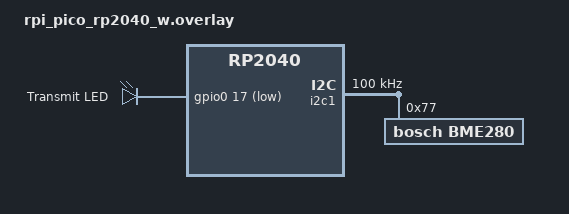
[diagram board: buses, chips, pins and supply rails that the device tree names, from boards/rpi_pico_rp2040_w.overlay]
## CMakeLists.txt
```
cmake_minimum_required(VERSION 3.20.0)

if(EXISTS "${CMAKE_CURRENT_SOURCE_DIR}/local.conf")
    list(APPEND EXTRA_CONF_FILE "${CMAKE_CURRENT_SOURCE_DIR}/local.conf")
endif()

find_package(Zephyr REQUIRED HINTS $ENV{ZEPHYR_BASE})
project(edge_environment)


zephyr_include_directories(include)

target_sources(app PRIVATE 
    src/main.cpp
    src/sensor.cpp
    src/filter.cpp
    src/wifi_connect.cpp
    src/mqtt_publisher.cpp
)
```

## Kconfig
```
mainmenu "Edge Environment Firmware"

config APP_WIFI_SSID
    string "WiFi SSID"
    default "Your_SSID"

config APP_WIFI_PASSWORD
    string "WiFi Password"
    default "Your_Password"

config APP_MQTT_BROKER_HOST
    string "MQTT Broker Hostname/IP"
    default "192.168.1.140"

config APP_MQTT_BROKER_PORT
    int "MQTT Broker Port"
    default 1883

config APP_MQTT_TOPIC
    string "MQTT Topic"
    default "sensors/bme280"

config APP_MQTT_TLS_VERIFY_REQUIRED
    bool "MQTT TLS Verification Required"
    default n
    help
      Enable server certificate verification. Defaults to 'n' for local dev
      due to Pico W real-time clock validation constraints.

config APP_MQTT_USERNAME
    string "MQTT Username"
    default "device_user"

config APP_MQTT_PASSWORD
    string "MQTT Password"
    default "device_pass"

source "Kconfig.zephyr"
```

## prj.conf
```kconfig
# Enable I2C
CONFIG_I2C=y
CONFIG_GPIO=y

# Enable Sensor subsystem
CONFIG_SENSOR=y

# Enable WiFi
CONFIG_WIFI=y
CONFIG_CYW43439=y
CONFIG_NET_L2_ETHERNET=y
CONFIG_NET_L2_WIFI_MGMT=y
CONFIG_NET_DHCPV4=y

# Networking
CONFIG_NETWORKING=y
CONFIG_NET_IPV4=y
CONFIG_NET_TCP=y
CONFIG_NET_UDP=y

# MQTT
CONFIG_MQTT_LIB=y

# JSON
CONFIG_JSON_LIBRARY=y

# Logging
CONFIG_LOG=y
CONFIG_NET_LOG=y
CONFIG_WIFI_LOG_LEVEL_DBG=y
CONFIG_NET_L2_WIFI_MGMT_LOG_LEVEL_DBG=y

# Networking Sockets
CONFIG_NET_SOCKETS=y
CONFIG_POSIX_API=y
CONFIG_TEST_RANDOM_GENERATOR=y

# WiFi Config (Kconfig mapped) - set actual credentials in local.conf (ignored by Git)
CONFIG_APP_WIFI_SSID="your-ssid-here"
CONFIG_APP_WIFI_PASSWORD="your-password-here"
CONFIG_APP_MQTT_BROKER_HOST="192.168.1.39"
CONFIG_APP_MQTT_BROKER_PORT=8883
CONFIG_APP_MQTT_TOPIC="sensors/bme280"
CONFIG_APP_MQTT_USERNAME="device_user"
CONFIG_APP_MQTT_PASSWORD="device_pass"

# TLS Configuration
CONFIG_MQTT_LIB_TLS=y
CONFIG_NET_SOCKETS_SOCKOPT_TLS=y
CONFIG_TLS_CREDENTIALS=y
CONFIG_MBEDTLS=y
CONFIG_MBEDTLS_BUILTIN=y
CONFIG_MBEDTLS_CIPHERSUITE_TLS_ECDHE_RSA_WITH_AES_128_GCM_SHA256=y
CONFIG_MBEDTLS_PEM_PARSE_C=y

# Cut TLS record buffer 16KB → 4KB (saves ~24KB heap)
CONFIG_MBEDTLS_SSL_MAX_CONTENT_LEN=4096


# Application specific settings
CONFIG_MAIN_STACK_SIZE=8192
CONFIG_HEAP_MEM_POOL_SIZE=65536

# C++ Support
CONFIG_CPP=y
CONFIG_STD_CPP20=y
CONFIG_REQUIRES_FULL_LIBCPP=y

# Floating point and JSON library FP support
CONFIG_JSON_LIBRARY_FP_SUPPORT=y
```

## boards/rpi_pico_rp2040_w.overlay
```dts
&i2c0 {
    status = "disabled";
};

&pinctrl {
    i2c1_default: i2c1_default {
        group1 {
            pinmux = <I2C1_SDA_P26>, <I2C1_SCL_P27>;
            input-enable;
            input-schmitt-enable;
        };
    };
};

&i2c1 {
    status = "okay";
    clock-frequency = <I2C_BITRATE_STANDARD>;
    pinctrl-0 = <&i2c1_default>;
    pinctrl-names = "default";

    bme280@77 {
        compatible = "bosch,bme280";
        reg = <0x77>;
        /* Assuming address 0x77 which is the default for many BME280 modules.
         * If your module uses 0x76, change this to 0x76. */
    };
};

/ {
    leds {
        compatible = "gpio-leds";
        tx_led: led_17 {
            gpios = <&gpio0 17 GPIO_ACTIVE_LOW>;
            label = "Transmit LED";
        };
    };

    aliases {
        tx-led = &tx_led;
    };
};
```

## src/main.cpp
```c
#include <zephyr/kernel.h>
#include <zephyr/logging/log.h>
#include "sensor.hpp"
#include "filter.hpp"
#include "wifi_connect.hpp"
#include "mqtt_publisher.hpp"
#include <chrono>
#include <zephyr/drivers/gpio.h>

LOG_MODULE_REGISTER(app, LOG_LEVEL_INF);

/* Get the devicetree node identifier for the alias */
#define TX_LED_NODE DT_ALIAS(tx_led)

static const struct gpio_dt_spec tx_led = GPIO_DT_SPEC_GET(TX_LED_NODE, gpios);

int main()
{
    LOG_INF("Starting Edge Environment firmware (C++20)...");

    // Initialize LED GPIO
    if (!gpio_is_ready_dt(&tx_led)) {
        LOG_ERR("Error: TX LED device is not ready");
        return 0;
    }

    int ret = gpio_pin_configure_dt(&tx_led, GPIO_OUTPUT_INACTIVE);
    if (ret < 0) {
        LOG_ERR("Error %d: failed to configure TX LED pin", ret);
        return 0;
    }

    // 1. Connect to Wi-Fi
    if (!wifi_connect()) {
        LOG_ERR("Failed to connect to Wi-Fi. Halting.");
        return 0;
    }
    LOG_INF("Wi-Fi connected successfully.");

    // Allow the TCP/IP stack to settle (DHCP, routing) before connecting to MQTT
    k_sleep(K_MSEC(1500));

    // 2. Initialize BME280 Sensor
    Bme280Sensor sensor;
    if (!sensor.initialize()) {
        LOG_ERR("Failed to initialize sensor. Halting.");
        return 0;
    }

    // 3. Initialize MQTT Publisher and start background thread
    MqttPublisher mqtt;
    if (!mqtt.start()) {
        LOG_ERR("Failed to start MQTT background runner.");
    } else {
        // Wait up to 3 seconds for initial connection to avoid dropping first measurement
        int wait_timeout = 30;
        while (wait_timeout-- > 0 && !mqtt.get_connected()) {
            k_sleep(K_MSEC(100));
        }
    }

    // 4. Initialize Reading Filter
    ReadingFilter filter;

    LOG_INF("Entering continuous measurement loop...");

    while (true) {
        SensorReading reading;
        if (sensor.read(reading)) {
            uint32_t now_ms = k_uptime_get_32();
            if (filter.should_publish(reading, std::chrono::milliseconds(now_ms))) {
                LOG_INF("New measurement: Temp=%.2f C, Hum=%.2f %%, Press=%.2f hPa",
                        reading.temperature, reading.humidity, reading.pressure);
                
                // Turn on LED to indicate transmission starting
                gpio_pin_set_dt(&tx_led, 1);

                if (mqtt.publish_reading(reading)) {
                    LOG_INF("Published to MQTT topic '%s'", CONFIG_APP_MQTT_TOPIC);
                } else {
                    LOG_ERR("Failed to publish reading to MQTT");
                }

                // Keep the LED on for 2 seconds, then turn it off
                k_sleep(K_SECONDS(2));
                gpio_pin_set_dt(&tx_led, 0);
            }
        } else {
            LOG_ERR("Failed to read from BME280 sensor");
        }
        
        k_sleep(K_SECONDS(5));
    }
    return 0;
}
```

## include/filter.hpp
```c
#pragma once
#include "sensor_reading.hpp"
#include <chrono>

class ReadingFilter {
public:
    ReadingFilter(std::chrono::milliseconds interval = std::chrono::minutes(5), 
                  double delta_temp = 0.5, 
                  double delta_humidity = 2.0, 
                  double delta_pressure = 1.0);

    bool should_publish(const SensorReading& reading, std::chrono::milliseconds current_time);

private:
    std::chrono::milliseconds interval_;
    double delta_temp_;
    double delta_humidity_;
    double delta_pressure_;
    SensorReading last_reading_;
    std::chrono::milliseconds last_published_time_;
    bool has_last_reading_;
};
```

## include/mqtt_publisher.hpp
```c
#pragma once
#include "sensor_reading.hpp"
#include <zephyr/net/mqtt.h>
#include <zephyr/kernel.h>

class MqttPublisher {
public:
    MqttPublisher();
    ~MqttPublisher();
    bool start();
    void stop();
    bool connect_broker();
    void disconnect_broker();
    bool publish_reading(const SensorReading& reading);
    void set_connected(bool connected);
    bool get_connected();

private:
    struct mqtt_client client_;
    struct sockaddr_in broker_addr_;
    uint8_t rx_buffer_[256];
    uint8_t tx_buffer_[256];
    char mac_str_[18];
    bool is_connected_;
    bool should_run_;
    struct k_mutex state_mutex_;

    void init_client();
    void run_loop();
    void process_network(int timeout_ms);
};
```

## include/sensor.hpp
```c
#pragma once
#include <zephyr/device.h>
#include "sensor_reading.hpp"

class Bme280Sensor {
public:
    Bme280Sensor();
    bool initialize();
    bool read(SensorReading& out);

private:
    const struct device* dev_;
};
```

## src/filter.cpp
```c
#include "filter.hpp"
#include <cmath>

ReadingFilter::ReadingFilter(std::chrono::milliseconds interval, 
                             double delta_temp, 
                             double delta_humidity, 
                             double delta_pressure)
    : interval_(interval),
      delta_temp_(delta_temp),
      delta_humidity_(delta_humidity),
      delta_pressure_(delta_pressure),
      last_reading_{0.0, 0.0, 0.0, 0},
      last_published_time_(0),
      has_last_reading_(false) {}

bool ReadingFilter::should_publish(const SensorReading& reading, std::chrono::milliseconds current_time) {
    if (!has_last_reading_) {
        last_reading_ = reading;
        last_published_time_ = current_time;
        has_last_reading_ = true;
        return true;
    }

    auto elapsed = current_time - last_published_time_;
    if (elapsed >= interval_) {
        last_reading_ = reading;
        last_published_time_ = current_time;
        return true;
    }

    double temp_diff = std::fabs(reading.temperature - last_reading_.temperature);
    double hum_diff = std::fabs(reading.humidity - last_reading_.humidity);
    double press_diff = std::fabs(reading.pressure - last_reading_.pressure);

    if (temp_diff >= delta_temp_ || hum_diff >= delta_humidity_ || press_diff >= delta_pressure_) {
        last_reading_ = reading;
        last_published_time_ = current_time;
        return true;
    }

    return false;
}
```

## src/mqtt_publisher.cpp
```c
#include "mqtt_publisher.hpp"
#include <zephyr/kernel.h>
#include <zephyr/net/socket.h>
#include <zephyr/data/json.h>
#include <zephyr/logging/log.h>
#include <zephyr/net/net_if.h>
#include <string.h>

LOG_MODULE_DECLARE(app, LOG_LEVEL_INF);

#if defined(CONFIG_MQTT_LIB_TLS)
#include <zephyr/net/tls_credentials.h>

#define MQTT_TLS_SEC_TAG 1

static const char ca_certificate[] = 
#include "ca_cert.inc"
;

static int register_credentials(void)
{
    int rc = tls_credential_add(MQTT_TLS_SEC_TAG,
                                TLS_CREDENTIAL_CA_CERTIFICATE,
                                ca_certificate,
                                sizeof(ca_certificate));
    if (rc < 0 && rc != -EEXIST) {
        LOG_ERR("Failed to register CA certificate: %d", rc);
        return rc;
    }
    return 0;
}
#endif

// Define a dedicated thread space for the MQTT network runner
K_THREAD_STACK_DEFINE(mqtt_worker_stack, 4096);
static struct k_thread mqtt_worker_data;

static void mqtt_evt_handler(struct mqtt_client *const client,
                             const struct mqtt_evt *evt)
{
    MqttPublisher *pub = static_cast<MqttPublisher *>(client->user_data);
    if (!pub) return;

    switch (evt->type) {
    case MQTT_EVT_CONNACK:
        if (evt->param.connack.return_code != 0) {
            LOG_ERR("MQTT connection refused: %d", evt->param.connack.return_code);
            pub->set_connected(false);
        } else {
            LOG_INF("MQTT client successfully connected!");
            pub->set_connected(true);
        }
        break;

    case MQTT_EVT_DISCONNECT:
        LOG_WRN("MQTT client disconnected: %d", evt->result);
        pub->set_connected(false);
        break;

    case MQTT_EVT_PUBACK:
        if (evt->result != 0) {
            LOG_ERR("MQTT PUBACK error: %d", evt->result);
        } else {
            LOG_DBG("PUBACK received for packet id: %u", evt->param.puback.message_id);
        }
        break;

    default:
        break;
    }
}

// Zephyr JSON descriptor for SensorReading
struct json_sensor_reading {
    double temperature;
    double humidity;
    double pressure;
    int address;
    const char *mac;
};

static const struct json_obj_descr json_descr[] = {
    JSON_OBJ_DESCR_PRIM(struct json_sensor_reading, temperature, JSON_TOK_DOUBLE_FP),
    JSON_OBJ_DESCR_PRIM(struct json_sensor_reading, humidity, JSON_TOK_DOUBLE_FP),
    JSON_OBJ_DESCR_PRIM(struct json_sensor_reading, pressure, JSON_TOK_DOUBLE_FP),
    JSON_OBJ_DESCR_PRIM(struct json_sensor_reading, address, JSON_TOK_NUMBER),
    JSON_OBJ_DESCR_PRIM(struct json_sensor_reading, mac, JSON_TOK_STRING),
};

MqttPublisher::MqttPublisher() : is_connected_(false), should_run_(false) {
    k_mutex_init(&state_mutex_);
    init_client();
}

MqttPublisher::~MqttPublisher() {
    stop();
}

void MqttPublisher::init_client() {
    mqtt_client_init(&client_);

    memset(&broker_addr_, 0, sizeof(broker_addr_));
    broker_addr_.sin_family = AF_INET;
    broker_addr_.sin_port = htons(CONFIG_APP_MQTT_BROKER_PORT);
    zsock_inet_pton(AF_INET, CONFIG_APP_MQTT_BROKER_HOST, &broker_addr_.sin_addr);

    // Extract Wi-Fi MAC address
    struct net_if *iface = net_if_get_default();
    if (iface) {
        struct net_linkaddr *link_addr = net_if_get_link_addr(iface);
        if (link_addr && link_addr->len == 6) {
            snprintk(mac_str_, sizeof(mac_str_), "%02X:%02X:%02X:%02X:%02X:%02X",
                     link_addr->addr[0], link_addr->addr[1], link_addr->addr[2],
                     link_addr->addr[3], link_addr->addr[4], link_addr->addr[5]);
        } else {
            strcpy(mac_str_, "00:00:00:00:00:00");
        }
    } else {
        strcpy(mac_str_, "00:00:00:00:00:00");
    }

    client_.broker = &broker_addr_;
    client_.evt_cb = mqtt_evt_handler;
    client_.user_data = this;
    client_.client_id.utf8 = (const uint8_t *)mac_str_;
    client_.client_id.size = strlen(mac_str_);

    static struct mqtt_utf8 username_utf8;
    static struct mqtt_utf8 password_utf8;

    username_utf8.utf8 = (const uint8_t *)CONFIG_APP_MQTT_USERNAME;
    username_utf8.size = strlen(CONFIG_APP_MQTT_USERNAME);

    password_utf8.utf8 = (const uint8_t *)CONFIG_APP_MQTT_PASSWORD;
    password_utf8.size = strlen(CONFIG_APP_MQTT_PASSWORD);

    client_.user_name = &username_utf8;
    client_.password = &password_utf8;

    client_.protocol_version = MQTT_VERSION_3_1_1;
    client_.keepalive = 60;

    client_.rx_buf = rx_buffer_;
    client_.rx_buf_size = sizeof(rx_buffer_);
    client_.tx_buf = tx_buffer_;
    client_.tx_buf_size = sizeof(tx_buffer_);

#if defined(CONFIG_MQTT_LIB_TLS)
    register_credentials();

    static sec_tag_t sec_tag_list[] = { MQTT_TLS_SEC_TAG };
    client_.transport.type = MQTT_TRANSPORT_SECURE;
    struct mqtt_sec_config *tls_config = &client_.transport.tls.config;

#if defined(CONFIG_APP_MQTT_TLS_VERIFY_REQUIRED)
    tls_config->peer_verify = TLS_PEER_VERIFY_REQUIRED;
#else
    tls_config->peer_verify = TLS_PEER_VERIFY_NONE;
#endif

    tls_config->cipher_list = NULL;
    tls_config->cipher_count = 0;
    tls_config->sec_tag_list = sec_tag_list;
    tls_config->sec_tag_count = ARRAY_SIZE(sec_tag_list);
    tls_config->hostname = CONFIG_APP_MQTT_BROKER_HOST;
#else
    client_.transport.type = MQTT_TRANSPORT_NON_SECURE;
#endif
}

bool MqttPublisher::start() {
    if (should_run_) return true;

    should_run_ = true;
    
    // Spawn background management loop
    k_thread_create(&mqtt_worker_data, mqtt_worker_stack,
                    K_THREAD_STACK_SIZEOF(mqtt_worker_stack),
                    [](void *p1, void *, void *) {
                        static_cast<MqttPublisher *>(p1)->run_loop();
                    },
                    this, nullptr, nullptr,
                    K_PRIO_PREEMPT(7), 0, K_NO_WAIT);
    
    return true;
}

void MqttPublisher::stop() {
    should_run_ = false;
    disconnect_broker();
    // Wait for worker thread to wind down gracefully if needed
    k_sleep(K_MSEC(200));
}

bool MqttPublisher::connect_broker() {
    int rc = mqtt_connect(&client_);
    if (rc != 0) {
        LOG_ERR("mqtt_connect failed: %d", rc);
        return false;
    }
    return true;
}

void MqttPublisher::disconnect_broker() {
    mqtt_disconnect(&client_, NULL);
    set_connected(false);
}

// Background thread that keeps the MQTT connection alive and handles sockets cleanly
void MqttPublisher::run_loop() {
    while (should_run_) {
        if (!get_connected()) {
            LOG_INF("Attempting connection to MQTT broker...");
            if (connect_broker()) {
                // Give the broker up to 3 seconds to trigger CONNACK via the socket poll
                int timeout_ms = 3000;
                while (timeout_ms > 0 && !get_connected() && should_run_) {
                    process_network(100);
                    timeout_ms -= 100;
                }
            }
            
            if (!get_connected()) {
                LOG_WRN("Connection failed or timed out. Retrying in 5 seconds...");
                disconnect_broker();
                k_sleep(K_MSEC(5000));
                continue;
            }
        }

        // Keep-alive processing and connection maintenance
        process_network(500); 
    }
}

void MqttPublisher::process_network(int timeout_ms) {
    struct zsock_pollfd fds[1];
    
    if (client_.transport.tcp.sock >= 0) {
        
        fds[0].fd = client_.transport.tcp.sock;
        fds[0].events = ZSOCK_POLLIN;

        int rc = zsock_poll(fds, 1, timeout_ms);
        if (rc > 0) {
            if (fds[0].revents & ZSOCK_POLLIN) {
                rc = mqtt_input(&client_);
                if (rc < 0) {
                    LOG_ERR("mqtt_input error: %d", rc);
                    set_connected(false);
                }
            }
            if (fds[0].revents & (ZSOCK_POLLERR | ZSOCK_POLLHUP)) {
                LOG_ERR("Socket error or hangup detected via poll");
                set_connected(false);
            }
        } else if (rc < 0) {
            LOG_ERR("zsock_poll failed: %d", rc);
            set_connected(false);
        }

        // Handle MQTT internal timers and keepalives (PINGREQ)
        rc = mqtt_live(&client_);
        if (rc != 0 && rc != -EAGAIN) {
            LOG_ERR("mqtt_live error: %d", rc);
            set_connected(false);
        }
    } else {
        k_sleep(K_MSEC(timeout_ms));
    }
}

bool MqttPublisher::publish_reading(const SensorReading& reading) {
    if (!get_connected()) {
        LOG_WRN("Cannot publish: Broker is offline.");
        return false;
    }

    struct json_sensor_reading j_read = {
        .temperature = reading.temperature,
        .humidity = reading.humidity,
        .pressure = reading.pressure,
        .address = reading.address,
        .mac = mac_str_
    };

    char json_buf[128];
    ssize_t json_len = json_obj_encode_buf(json_descr, ARRAY_SIZE(json_descr),
                                           &j_read, json_buf, sizeof(json_buf));
    if (json_len < 0) {
        LOG_ERR("JSON encoding failed: %d", (int)json_len);
        return false;
    }

    struct mqtt_publish_param param{};
    param.message.topic.qos = MQTT_QOS_0_AT_MOST_ONCE;
    param.message.topic.topic.utf8 = (const uint8_t *)CONFIG_APP_MQTT_TOPIC;
    param.message.topic.topic.size = strlen(CONFIG_APP_MQTT_TOPIC);
    param.message.payload.data = (uint8_t *)json_buf;
    param.message.payload.len = strlen(json_buf);
    param.message_id = k_uptime_get_32();

    // Mutex protect actual socket transmissions to avoid clashing with the worker thread
    k_mutex_lock(&state_mutex_, K_FOREVER);
    int rc = mqtt_publish(&client_, &param);
    k_mutex_unlock(&state_mutex_);

    if (rc != 0) {
        LOG_ERR("mqtt_publish failed direct write: %d", rc);
        return false;
    }

    return true;
}

void MqttPublisher::set_connected(bool connected) {
    k_mutex_lock(&state_mutex_, K_FOREVER);
    is_connected_ = connected;
    k_mutex_unlock(&state_mutex_);
}

bool MqttPublisher::get_connected() {
    k_mutex_lock(&state_mutex_, K_FOREVER);
    bool status = is_connected_;
    k_mutex_unlock(&state_mutex_);
    return status;
}
```

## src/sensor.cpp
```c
#include "sensor.hpp"
#include <zephyr/drivers/sensor.h>
#include <zephyr/logging/log.h>

LOG_MODULE_DECLARE(app, LOG_LEVEL_INF);

Bme280Sensor::Bme280Sensor() : dev_(nullptr) {}

bool Bme280Sensor::initialize() {
    dev_ = DEVICE_DT_GET_ANY(bosch_bme280);

    if (dev_ == nullptr) {
        LOG_ERR("No BME280 device found in devicetree");
        return false;
    }

    if (!device_is_ready(dev_)) {
        LOG_ERR("BME280 device %s is not ready", dev_->name);
        return false;
    }

    LOG_INF("Found BME280 device: %s", dev_->name);
    return true;
}

bool Bme280Sensor::read(SensorReading& out) {
    if (!dev_) {
        return false;
    }

    struct sensor_value temp, press, humidity;

    if (sensor_sample_fetch(dev_) < 0) {
        LOG_ERR("Sensor sample update error");
        return false;
    }

    sensor_channel_get(dev_, SENSOR_CHAN_AMBIENT_TEMP, &temp);
    sensor_channel_get(dev_, SENSOR_CHAN_PRESS, &press);
    sensor_channel_get(dev_, SENSOR_CHAN_HUMIDITY, &humidity);

    out.temperature = sensor_value_to_double(&temp);
    out.pressure = sensor_value_to_double(&press) * 10.0; // kPa to hPa
    out.humidity = sensor_value_to_double(&humidity);
    
#if DT_HAS_COMPAT_STATUS_OKAY(bosch_bme280)
    out.address = DT_REG_ADDR(DT_COMPAT_GET_ANY_STATUS_OKAY(bosch_bme280));
#else
    out.address = 0;
#endif

    return true;
}
```

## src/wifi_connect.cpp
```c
#include "wifi_connect.hpp"
#include <string.h>
#include <zephyr/kernel.h>
#include <zephyr/logging/log.h>
#include <zephyr/net/net_if.h>
#include <zephyr/net/net_mgmt.h>
#include <zephyr/net/wifi_mgmt.h>

LOG_MODULE_DECLARE(app, LOG_LEVEL_INF);

static K_SEM_DEFINE(wifi_connected_sem, 0, 1);
static struct net_mgmt_event_callback wifi_cb;
static struct net_mgmt_event_callback ipv4_cb;

static void wifi_mgmt_handler(struct net_mgmt_event_callback *cb,
                              uint64_t mgmt_event, struct net_if *iface) {
  if (mgmt_event == NET_EVENT_WIFI_CONNECT_RESULT) {
    const struct wifi_status *status = (const struct wifi_status *)cb->info;
    if (status->status) {
      LOG_ERR("WiFi Connection failed (%d)", status->status);
    } else {
      LOG_INF("WiFi WLAN connected");
    }
  }
}

static void ipv4_mgmt_handler(struct net_mgmt_event_callback *cb,
                              uint64_t mgmt_event, struct net_if *iface) {
  if (mgmt_event == NET_EVENT_IPV4_ADDR_ADD) {
    LOG_INF("IPv4 address added successfully");
    k_sem_give(&wifi_connected_sem);
  }
}

bool wifi_connect() {
  struct net_if *iface = net_if_get_default();
  if (!iface) {
    LOG_ERR("No default network interface found");
    return false;
  }

  net_mgmt_init_event_callback(&wifi_cb, wifi_mgmt_handler,
                               NET_EVENT_WIFI_CONNECT_RESULT);
  net_mgmt_add_event_callback(&wifi_cb);

  net_mgmt_init_event_callback(&ipv4_cb, ipv4_mgmt_handler,
                               NET_EVENT_IPV4_ADDR_ADD);
  net_mgmt_add_event_callback(&ipv4_cb);

  struct wifi_connect_req_params params = {0};
  params.ssid = (const uint8_t *)CONFIG_APP_WIFI_SSID;
  params.ssid_length = strlen(CONFIG_APP_WIFI_SSID);
  params.psk = (const uint8_t *)CONFIG_APP_WIFI_PASSWORD;
  params.psk_length = strlen(CONFIG_APP_WIFI_PASSWORD);
  params.channel = WIFI_CHANNEL_ANY;
  params.security = WIFI_SECURITY_TYPE_PSK;

  LOG_INF("Connecting to SSID: %s...", CONFIG_APP_WIFI_SSID);

  bool success = true;
  LOG_INF("Calling net_mgmt (NET_REQUEST_WIFI_CONNECT)...");
  int ret = net_mgmt(NET_REQUEST_WIFI_CONNECT, iface, &params, sizeof(params));
  LOG_INF("net_mgmt returned %d", ret);
  if (ret) {
    LOG_ERR("WiFi connection request failed immediately");
    success = false;
  } else {
    LOG_INF("Waiting for Wi-Fi connected semaphore...");
    // Wait up to 30 seconds for connection and IP assignment
    if (k_sem_take(&wifi_connected_sem, K_SECONDS(30)) != 0) {
      LOG_ERR("WiFi connection or DHCP timeout");
      success = false;
    }
  }
  LOG_INF("Connected to Wi-Fi, returning from function");
  // Clean up event callbacks to prevent corrupting lists on subsequent connects
  net_mgmt_del_event_callback(&wifi_cb);
  net_mgmt_del_event_callback(&ipv4_cb);

  return success;
}
```
